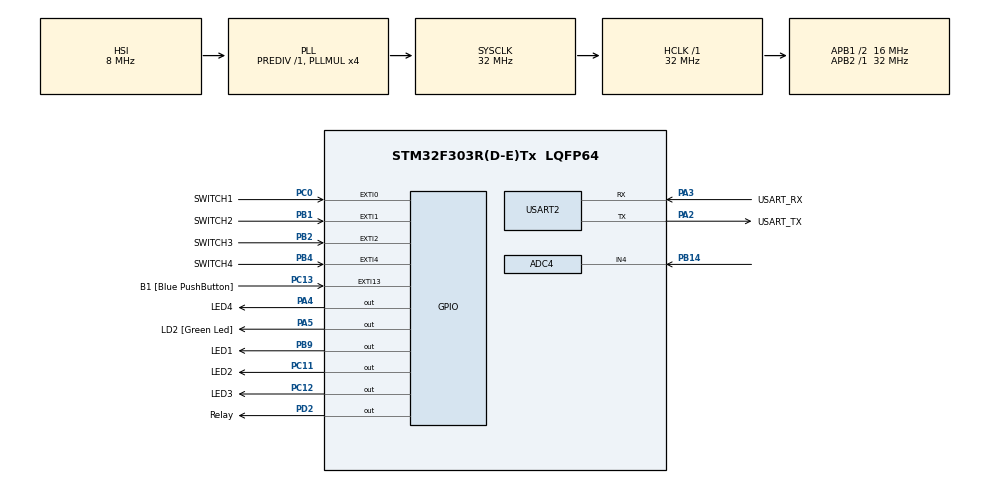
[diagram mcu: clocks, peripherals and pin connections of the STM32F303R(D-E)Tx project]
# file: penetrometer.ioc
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ADC4.Channel-0\#ChannelRegularConversion=ADC_CHANNEL_4
ADC4.ClockPrescaler=ADC_CLOCK_SYNC_PCLK_DIV4
ADC4.ContinuousConvMode=ENABLE
ADC4.DMAContinuousRequests=ENABLE
ADC4.NbrOfConversionFlag=1
ADC4.Offset-0\#ChannelRegularConversion=0
ADC4.OffsetNumber-0\#ChannelRegularConversion=ADC_OFFSET_NONE
ADC4.Rank-0\#ChannelRegularConversion=1
ADC4.SamplingTime-0\#ChannelRegularConversion=ADC_SAMPLETIME_601CYCLES_5
ADC4.SamplingTimeOPAMP-0\#ChannelRegularConversion=ADC_SAMPLETIME_19CYCLES_5
Dma.ADC4.0.Direction=DMA_PERIPH_TO_MEMORY
Dma.ADC4.0.Instance=DMA2_Channel2
Dma.ADC4.0.MemDataAlignment=DMA_MDATAALIGN_HALFWORD
Dma.ADC4.0.MemInc=DMA_MINC_ENABLE
Dma.ADC4.0.Mode=DMA_CIRCULAR
Dma.ADC4.0.PeriphDataAlignment=DMA_PDATAALIGN_HALFWORD
Dma.ADC4.0.PeriphInc=DMA_PINC_DISABLE
Dma.ADC4.0.Priority=DMA_PRIORITY_LOW
Dma.Request0=ADC4
Mcu.Family=STM32F3
Mcu.Name=STM32F303R(D-E)Tx
Mcu.Package=LQFP64
NVIC.ADC4_IRQn=true\:0\:0\:false\:false\:true\:true\:true
NVIC.DMA2_Channel2_IRQn=true\:0\:0\:false\:false\:true\:false\:true
NVIC.EXTI0_IRQn=true\:0\:0\:false\:false\:true\:true\:true
NVIC.EXTI15_10_IRQn=true\:0\:0\:false\:false\:true\:true\:true
NVIC.EXTI1_IRQn=true\:0\:0\:false\:false\:true\:true\:true
NVIC.EXTI2_TSC_IRQn=true\:0\:0\:false\:false\:true\:true\:true
NVIC.EXTI4_IRQn=true\:0\:0\:false\:false\:true\:true\:true
NVIC.PriorityGroup=NVIC_PRIORITYGROUP_0
NVIC.TIM1_BRK_TIM15_IRQn=true\:0\:0\:false\:false\:true\:true\:true
NVIC.TIM1_CC_IRQn=true\:0\:0\:false\:false\:true\:true\:true
NVIC.TIM1_TRG_COM_TIM17_IRQn=true\:0\:0\:false\:false\:true\:true\:true
NVIC.TIM1_UP_TIM16_IRQn=true\:0\:0\:false\:false\:true\:true\:true
PA13.GPIO_Label=TMS
PA13.Mode=Serial_Wire
PA13.Signal=SYS_JTMS-SWDIO
PA14.GPIO_Label=TCK
PA14.Mode=Serial_Wire
PA14.Signal=SYS_JTCK-SWCLK
PA2.GPIO_Label=USART_TX
PA2.GPIO_Mode=GPIO_MODE_AF_PP
PA2.GPIO_PuPd=GPIO_NOPULL
PA2.GPIO_Speed=GPIO_SPEED_FREQ_LOW
PA2.Mode=Asynchronous
PA2.Signal=USART2_TX
PA3.GPIO_Label=USART_RX
PA3.GPIO_Mode=GPIO_MODE_AF_PP
PA3.GPIO_PuPd=GPIO_NOPULL
PA3.GPIO_Speed=GPIO_SPEED_FREQ_LOW
PA3.Mode=Asynchronous
PA3.Signal=USART2_RX
PA4.GPIO_Label=LED4
PA4.Signal=GPIO_Output
PA5.GPIO_Label=LD2 [Green Led]
PA5.GPIO_Mode=GPIO_MODE_OUTPUT_PP
PA5.GPIO_PuPd=GPIO_NOPULL
PA5.GPIO_Speed=GPIO_SPEED_FREQ_LOW
PA5.Signal=GPIO_Output
PB1.GPIO_Label=SWITCH2
PB1.Signal=GPXTI1
PB14.Mode=IN4-Single-Ended
PB14.Signal=ADC4_IN4
PB2.GPIO_Label=SWITCH3
PB2.Signal=GPXTI2
PB3.GPIO_Label=SWO
PB3.Signal=SYS_JTDO-TRACESWO
PB4.GPIO_Label=SWITCH4
PB4.Signal=GPXTI4
PB9.GPIO_Label=LED1
PB9.Signal=GPIO_Output
PC0.GPIO_Label=SWITCH1
PC0.Signal=GPXTI0
PC11.GPIO_Label=LED2
PC11.Signal=GPIO_Output
PC12.GPIO_Label=LED3
PC12.Signal=GPIO_Output
PC13.GPIO_Label=B1 [Blue PushButton]
PC13.GPIO_ModeDefaultEXTI=GPIO_MODE_IT_FALLING
PC13.Signal=GPXTI13
PC14-OSC32_IN.Mode=LSE-External-Oscillator
PC14-OSC32_IN.Signal=RCC_OSC32_IN
PC15-OSC32_OUT.Mode=LSE-External-Oscillator
PC15-OSC32_OUT.Signal=RCC_OSC32_OUT
PD2.GPIO_Label=Relay
PD2.Signal=GPIO_Output
PF0-OSC_IN.Mode=HSE-External-Clock-Source
PF0-OSC_IN.Signal=RCC_OSC_IN
PF1-OSC_OUT.Signal=RCC_OSC_OUT
ProjectManager.HeapSize=0x200
ProjectManager.StackSize=0x400
ProjectManager.TargetToolchain=STM32CubeIDE
RCC.AHBFreq_Value=32000000
RCC.APB1CLKDivider=RCC_HCLK_DIV2
RCC.APB1Freq_Value=16000000
RCC.APB1TimFreq_Value=32000000
RCC.APB2Freq_Value=32000000
RCC.APB2TimFreq_Value=32000000
RCC.CortexFreq_Value=32000000
RCC.HCLKFreq_Value=32000000
RCC.HSE_VALUE=8000000
RCC.HSI_VALUE=8000000
RCC.PLLM=8
RCC.PLLMUL=RCC_PLL_MUL4
RCC.PLLN=336
RCC.PLLP=RCC_PLLP_DIV4
RCC.PLLQ=7
RCC.RCC_PLLsource_Clock_Source_FROM_HSE=RCC_HSE_PREDIV_DIV2
RCC.SYSCLKFreq_VALUE=32000000
RCC.SYSCLKSourceVirtual=RCC_SYSCLKSOURCE_PLLCLK
RCC.USBFreq_Value=32000000
TIM1.Period=50
TIM1.Prescaler=32000
USART2.VirtualMode-Asynchronous=VM_ASYNC
VP_TIM1_VS_ClockSourceINT.Mode=Internal
board=NUCLEO-F303RE

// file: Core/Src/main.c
/* USER CODE BEGIN Header */
/**
  ******************************************************************************
  * @file           : main.c
  * @brief          : Main program body
  ******************************************************************************
  * @attention
  *
  * <h2><center>&copy; Copyright (c) 2020 STMicroelectronics.
  * All rights reserved.</center></h2>
  *
  * This software component is licensed by ST under BSD 3-Clause license,
  * the "License"; You may not use this file except in compliance with the
  * License. You may obtain a copy of the License at:
  *                        opensource.org/licenses/BSD-3-Clause
  *
  ******************************************************************************
  */
/* USER CODE END Header */
#include "main.h"
#include "adc.h"
#include "dma.h"
#include "tim.h"
#include "usart.h"
#include "gpio.h"

/* USER CODE BEGIN Includes */
#include <math.h> //dodaje biblioteke do obliczen termistora
#include <stdbool.h>
/* USER CODE END Includes */

/* USER CODE BEGIN PV */
bool state = true; //zmienna pomocnicza do debouncingu

volatile uint32_t PomiarADC = 0; //zmienna do przechowywania pomiarów z termistora

float Rt;
float Temperature;
float Vsense;
float TinC;

const float R = 6660; // [Om]
const float SupplyVoltage = 3.3; // [Volts]
const float ADCResolution = 4095.0;
const float B = 3977; // [K]
const float T0 = 298.15; //[stp C]

/* USER CODE END PV */

void SystemClock_Config(void);

int main(void)
{

  /* MCU Configuration--------------------------------------------------------*/

  /* Reset of all peripherals, Initializes the Flash interface and the Systick. */
  HAL_Init();

  /* Configure the system clock */
  SystemClock_Config();

  /* Initialize all configured peripherals */
  MX_GPIO_Init();
  MX_DMA_Init();
  MX_USART2_UART_Init();
  MX_TIM1_Init();
  MX_ADC4_Init();
  /* USER CODE BEGIN 2 */
  HAL_ADC_Start_DMA(&hadc4, &PomiarADC, 1);
  /* USER CODE END 2 */

  /* Infinite loop */
  while (1)
  {

    /* USER CODE BEGIN 3 */

	  Vsense = (SupplyVoltage*PomiarADC)/ADCResolution;
	  Rt = -((Vsense*R)/(Vsense-SupplyVoltage));//przeliczenie na opór termistora
	  Temperature = B/(log(Rt/(R*(pow((2.718),(-B/T0))))));// Obliczenie temperatury
	  TinC = Temperature - 273.15 ; //Zmiana temperatury z Kelwinow na Celcjusze

/*jezeli z przerwania zostanie uruchomiona dioda, warunek if powoduje odliczanie x milisekund okreslonych w HAL_Delay (ponizej wytłumaczony sposob odliczania),
 * po tym czasie wylacza diode i przekaznik */

	  if (HAL_GPIO_ReadPin(LED1_GPIO_Port, LED1_Pin) == GPIO_PIN_SET){
	  	HAL_Delay(5000);
	  	HAL_GPIO_WritePin(LED1_GPIO_Port, LED1_Pin, GPIO_PIN_RESET);
	  	HAL_GPIO_WritePin(Relay_GPIO_Port, Relay_Pin, GPIO_PIN_RESET);
	  	}

	  else if (HAL_GPIO_ReadPin(LED2_GPIO_Port, LED2_Pin) == GPIO_PIN_SET){
	  	HAL_Delay(5000);
	  	HAL_GPIO_WritePin(LED2_GPIO_Port, LED2_Pin, GPIO_PIN_RESET);
	  	HAL_GPIO_WritePin(Relay_GPIO_Port, Relay_Pin, GPIO_PIN_RESET);
	  	}

	  else if (HAL_GPIO_ReadPin(LED3_GPIO_Port, LED3_Pin) == GPIO_PIN_SET){
	  	HAL_Delay(5000);
	  	HAL_GPIO_WritePin(LED3_GPIO_Port, LED3_Pin, GPIO_PIN_RESET);
	  	HAL_GPIO_WritePin(Relay_GPIO_Port, Relay_Pin, GPIO_PIN_RESET);
	  	}

	  else if((HAL_GPIO_ReadPin(SWITCH4_GPIO_Port, SWITCH4_Pin) == GPIO_PIN_RESET ) && (HAL_GPIO_ReadPin(LED4_GPIO_Port, LED4_Pin) == 1)){
		HAL_Delay(300); //w przypadku przyciku on-off drugi warunek sprawdzajacy po 300 ms czy przycisk faktycznie wcisniety (debouncing)

	  	if ((HAL_GPIO_ReadPin(SWITCH4_GPIO_Port, SWITCH4_Pin) == GPIO_PIN_RESET ) && (HAL_GPIO_ReadPin(LED4_GPIO_Port, LED4_Pin) == 1)){
	  		HAL_GPIO_WritePin(LED4_GPIO_Port,LED4_Pin,GPIO_PIN_RESET);
	  		HAL_GPIO_WritePin(Relay_GPIO_Port, Relay_Pin, GPIO_PIN_RESET);
	  		}
	  	}
  }
  /* USER CODE END 3 */
}

void SystemClock_Config(void)
{
  RCC_OscInitTypeDef RCC_OscInitStruct = {0};
  RCC_ClkInitTypeDef RCC_ClkInitStruct = {0};
  RCC_PeriphCLKInitTypeDef PeriphClkInit = {0};

  /** Initializes the RCC Oscillators according to the specified parameters
  * in the RCC_OscInitTypeDef structure.
  */
  RCC_OscInitStruct.OscillatorType = RCC_OSCILLATORTYPE_HSI;
  RCC_OscInitStruct.HSIState = RCC_HSI_ON;
  RCC_OscInitStruct.HSICalibrationValue = RCC_HSICALIBRATION_DEFAULT;
  RCC_OscInitStruct.PLL.PLLState = RCC_PLL_ON;
  RCC_OscInitStruct.PLL.PLLSource = RCC_PLLSOURCE_HSI;
  RCC_OscInitStruct.PLL.PLLMUL = RCC_PLL_MUL4;
  RCC_OscInitStruct.PLL.PREDIV = RCC_PREDIV_DIV1;
  if (HAL_RCC_OscConfig(&RCC_OscInitStruct) != HAL_OK)
  {
    Error_Handler();
  }
  /** Initializes the CPU, AHB and APB buses clocks
  */
  RCC_ClkInitStruct.ClockType = RCC_CLOCKTYPE_HCLK|RCC_CLOCKTYPE_SYSCLK
                              |RCC_CLOCKTYPE_PCLK1|RCC_CLOCKTYPE_PCLK2;
  RCC_ClkInitStruct.SYSCLKSource = RCC_SYSCLKSOURCE_PLLCLK;
  RCC_ClkInitStruct.AHBCLKDivider = RCC_SYSCLK_DIV1;
  RCC_ClkInitStruct.APB1CLKDivider = RCC_HCLK_DIV2;
  RCC_ClkInitStruct.APB2CLKDivider = RCC_HCLK_DIV1;

  if (HAL_RCC_ClockConfig(&RCC_ClkInitStruct, FLASH_LATENCY_1) != HAL_OK)
  {
    Error_Handler();
  }
  PeriphClkInit.PeriphClockSelection = RCC_PERIPHCLK_USART2|RCC_PERIPHCLK_TIM1;
  PeriphClkInit.Usart2ClockSelection = RCC_USART2CLKSOURCE_PCLK1;
  PeriphClkInit.Tim1ClockSelection = RCC_TIM1CLK_HCLK;
  if (HAL_RCCEx_PeriphCLKConfig(&PeriphClkInit) != HAL_OK)
  {
    Error_Handler();
  }
}

/* USER CODE BEGIN 4 */

/* przerwania wywolane nacisnieciem przycisku powoduja wlaczenie odpowiadajacej diody led i przekaznika,
 * dodatkowo zaimplementowany debouncing w postaci timera TIM1 o okresie 50 ms
 * timer obliczany jest wg:
 * częstotliwosć (freq) = 32 000 000 Hz
 * a prescaler = 32 000
 * stad czestotliwosc TIM1 = 32 000 000 Hz / 32 000 = 1000 Hz
 * żeby uzyskać okres licznika 0,05 s musimy ustawić counter period na 50, wynika to z proporcji:
 * 1 sekunda to 1000 tyknięć, więc 0,05 sekundy to x
 * (0,05 s * 1000 tyknięć)/1 sekundę = 50 tyknięć  */

void HAL_GPIO_EXTI_Callback(uint16_t GPIO_Pin)
{

  if(GPIO_Pin == GPIO_PIN_0 && state == true && ((HAL_GPIO_ReadPin(LED1_GPIO_Port, LED1_Pin)||HAL_GPIO_ReadPin(LED2_GPIO_Port, LED2_Pin)||HAL_GPIO_ReadPin(LED3_GPIO_Port, LED3_Pin)||HAL_GPIO_ReadPin(LED4_GPIO_Port, LED4_Pin)) == 0))
  {
	  HAL_TIM_Base_Start_IT(&htim1); //licznik zaczyna odliczać
	  state = false;}

  else if(GPIO_Pin == GPIO_PIN_1 && ((HAL_GPIO_ReadPin(LED1_GPIO_Port, LED1_Pin)||HAL_GPIO_ReadPin(LED2_GPIO_Port, LED2_Pin)||HAL_GPIO_ReadPin(LED3_GPIO_Port, LED3_Pin)||HAL_GPIO_ReadPin(LED4_GPIO_Port, LED4_Pin)) == 0))
  {
	  HAL_TIM_Base_Start_IT(&htim1);
	  state = false;}

  else if(GPIO_Pin == GPIO_PIN_2 && ((HAL_GPIO_ReadPin(LED1_GPIO_Port, LED1_Pin)||HAL_GPIO_ReadPin(LED2_GPIO_Port, LED2_Pin)||HAL_GPIO_ReadPin(LED3_GPIO_Port, LED3_Pin)||HAL_GPIO_ReadPin(LED4_GPIO_Port, LED4_Pin)) == 0))
  {
	  HAL_TIM_Base_Start_IT(&htim1);
	  	  state = false;}
  else if(GPIO_Pin == GPIO_PIN_4 &&((HAL_GPIO_ReadPin(LED1_GPIO_Port, LED1_Pin)||HAL_GPIO_ReadPin(LED2_GPIO_Port, LED2_Pin)||HAL_GPIO_ReadPin(LED3_GPIO_Port, LED3_Pin) == 0)))
  {
	  HAL_TIM_Base_Start_IT(&htim1);
	  state = false;
   }
  else {
	  // No Operation does nothing.
	 __NOP();}

}

void HAL_TIM_PeriodElapsedCallback(TIM_HandleTypeDef *htim)
{
  /* Prevent unused argument(s) compilation warning */
  UNUSED(htim);

	if(HAL_GPIO_ReadPin(SWITCH1_GPIO_Port, SWITCH1_Pin) == GPIO_PIN_RESET){
		HAL_GPIO_WritePin(LED1_GPIO_Port, LED1_Pin, GPIO_PIN_SET);
		HAL_GPIO_WritePin(Relay_GPIO_Port, Relay_Pin, GPIO_PIN_SET);
		state = true;
		HAL_TIM_Base_Stop_IT(&htim1);
	}
	else if(HAL_GPIO_ReadPin(SWITCH4_GPIO_Port, SWITCH4_Pin) == GPIO_PIN_RESET){
		HAL_GPIO_WritePin(LED4_GPIO_Port,LED4_Pin,GPIO_PIN_SET);
		HAL_GPIO_WritePin(Relay_GPIO_Port, Relay_Pin, GPIO_PIN_SET);
		state = true;
		HAL_TIM_Base_Stop_IT(&htim1);
	}
	else if(HAL_GPIO_ReadPin(SWITCH3_GPIO_Port, SWITCH3_Pin) == GPIO_PIN_RESET){
		  HAL_GPIO_WritePin(LED3_GPIO_Port, LED3_Pin, GPIO_PIN_SET);
			  HAL_GPIO_WritePin(Relay_GPIO_Port, Relay_Pin, GPIO_PIN_SET);
			state = true;
			HAL_TIM_Base_Stop_IT(&htim1);
		}
	else if(HAL_GPIO_ReadPin(SWITCH2_GPIO_Port, SWITCH2_Pin) == GPIO_PIN_RESET){
		  HAL_GPIO_WritePin(LED2_GPIO_Port, LED2_Pin, GPIO_PIN_SET);
			 HAL_GPIO_WritePin(Relay_GPIO_Port, Relay_Pin, GPIO_PIN_SET);
			state = true;
			HAL_TIM_Base_Stop_IT(&htim1);
		}
}
/* USER CODE END 4 */

void Error_Handler(void)
{
  __disable_irq();
  while (1)
  {
  }
}

/************************ (C) COPYRIGHT STMicroelectronics *****END OF FILE****/
